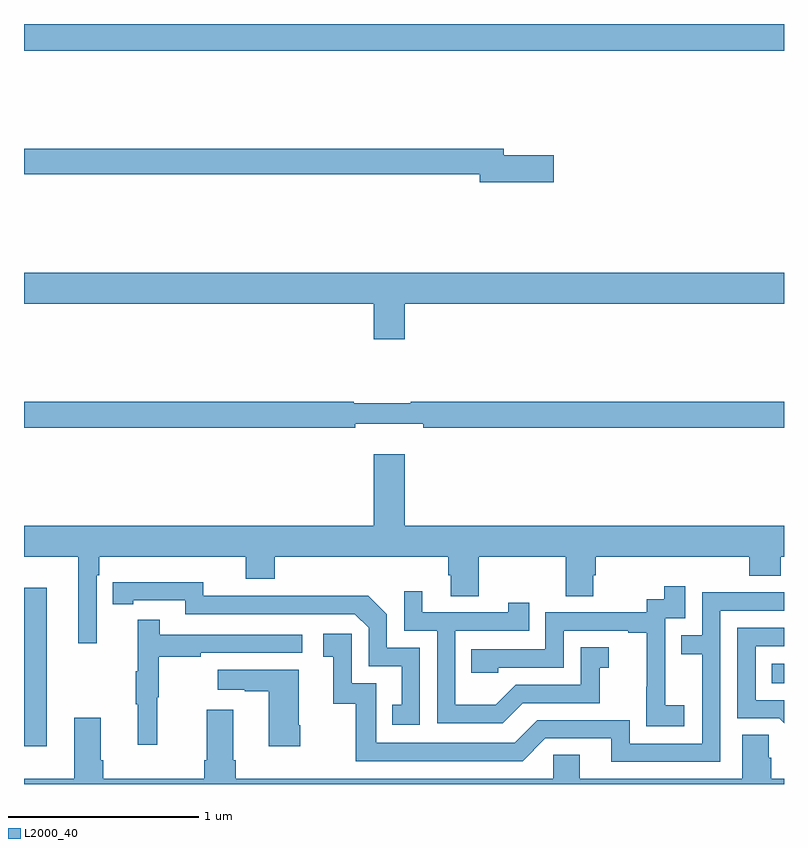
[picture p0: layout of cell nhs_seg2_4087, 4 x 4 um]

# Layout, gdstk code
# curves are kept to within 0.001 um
import gdstk
lib = gdstk.Library(unit=1e-6, precision=1e-09)
def R(c, l, rs):  # rectangles x0, y0, x1, y1
    for r in rs: c.add(gdstk.rectangle(r[:2], r[2:], *l))
def P(c, l, *ps):  # polygons
    for p in ps: c.add(gdstk.Polygon(p, *l))
L2000_40 = (2000, 40)

nhs_seg2_4087 = lib.new_cell('nhs_seg2_4087')
R(nhs_seg2_4087, L2000_40, [(331,619.998,331.12,620.833), (334.936,620.33,335,620.434), (331,623.66,335,623.8)])
P(nhs_seg2_4087, L2000_40, [(333.787,623.108),(333.526,623.108),(333.526,623.144),(331,623.144),(331,623.008),(333.398,623.008),(333.398,622.966),(333.787,622.966)],
  [(331,622.328),(332.84,622.328),(332.84,622.14),(333.004,622.14),(333.004,622.328),(335,622.328),(335,622.492),(331,622.492)],
  [(332.744,621.695),(333.1,621.695),(333.1,621.676),(335,621.676),(335,621.812),(333.035,621.812),(333.035,621.805),(332.735,621.805),(332.735,621.812),(331,621.812),(331,621.676),(332.744,621.676)],
  [(331.383,620.9),(331.397,620.9),(331.397,620.996),(332.168,620.996),(332.168,620.879),(332.321,620.879),(332.321,620.996),(333.233,620.996),(333.233,620.898),(333.245,620.898),(333.245,620.788),(333.393,620.788),(333.393,620.996),(333.85,620.996),(333.85,620.788),(333.997,620.788),(333.997,620.898),(334.01,620.898),(334.01,620.996),(334.817,620.996),(334.817,620.897),(334.982,620.897),(334.982,620.996),(335,620.996),(335,621.16),(333.004,621.16),(333.004,621.535),(332.84,621.535),(332.84,621.16),(331,621.16),(331,620.996),(331.286,620.996),(331.286,620.541),(331.383,620.541)],
  [(333.084,620.517),(332.91,620.517),(332.91,620.694),(332.812,620.792),(332.404,620.792),(332.404,620.79),(331.944,620.79),(331.944,620.863),(331.468,620.862),(331.468,620.746),(331.576,620.746),(331.576,620.766),(331.848,620.766),(331.848,620.694),(332.742,620.694),(332.814,620.622),(332.814,620.421),(332.987,620.421),(332.987,620.217),(332.938,620.217),(332.938,620.112),(333.084,620.112)],
  [(334.474,620.215),(334.376,620.215),(334.376,620.444),(334.374,620.444),(334.374,620.673),(334.479,620.673),(334.479,620.842),(334.371,620.842),(334.371,620.772),(334.278,620.772),(334.278,620.703),(333.744,620.703),(333.744,620.508),(333.355,620.508),(333.355,620.385),(333.495,620.385),(333.495,620.412),(333.84,620.412),(333.84,620.607),(334.181,620.607),(334.181,620.595),(334.277,620.595),(334.277,620.311),(334.276,620.311),(334.276,620.105),(334.474,620.105)],
  [(333.625,620.226),(334.029,620.226),(334.029,620.411),(334.078,620.411),(334.078,620.521),(333.93,620.521),(333.93,620.322),(333.588,620.322),(333.484,620.218),(333.27,620.218),(333.27,620.607),(333.659,620.607),(333.659,620.755),(333.548,620.755),(333.548,620.703),(333.097,620.703),(333.097,620.815),(333,620.815),(333,620.607),(333.174,620.607),(333.174,620.121),(333.52,620.121)],
  [(334.665,620.712),(335,620.712),(335,620.808),(334.569,620.808),(334.569,620.583),(334.459,620.583),(334.459,620.482),(334.569,620.482),(334.569,620.013),(334.188,620.013),(334.188,620.136),(333.702,620.136),(333.582,620.016),(332.853,620.016),(332.853,620.331),(332.724,620.331),(332.724,620.59),(332.574,620.59),(332.574,620.469),(332.627,620.469),(332.627,620.223),(332.745,620.223),(332.745,619.92),(333.624,619.92),(333.744,620.04),(334.091,620.04),(334.091,619.917),(334.665,619.917)],
  [(331.7,620.256),(331.708,620.256),(331.708,620.47),(331.931,620.47),(331.931,620.49),(332.464,620.49),(332.464,620.586),(331.715,620.586),(331.715,620.665),(331.598,620.665),(331.598,620.393),(331.587,620.393),(331.587,620.219),(331.598,620.219),(331.598,620.007),(331.7,620.007)],
  [(335,620.241),(334.851,620.241),(334.851,620.526),(335,620.526),(335,620.622),(334.755,620.622),(334.755,620.145),(334.974,620.145),(335,620.119)],
  [(332.454,620.11),(332.446,620.11),(332.446,620.401),(332.019,620.401),(332.019,620.297),(332.162,620.297),(332.162,620.287),(332.288,620.287),(332.288,619.998),(332.454,619.998)],
  [(334.92,619.937),(334.92,620.06),(334.781,620.06),(334.781,619.828),(333.925,619.828),(333.925,619.955),(333.786,619.955),(333.786,619.828),(332.114,619.828),(332.114,619.924),(332.101,619.924),(332.101,620.191),(331.961,620.191),(331.961,619.924),(331.949,619.924),(331.949,619.828),(331.418,619.828),(331.418,619.924),(331.405,619.924),(331.405,620.149),(331.265,620.149),(331.265,619.828),(331,619.828),(331,619.8),(335,619.8),(335,619.828),(334.934,619.828),(334.934,619.937)])

lib.write_gds('nhs_seg2_4087.gds')
